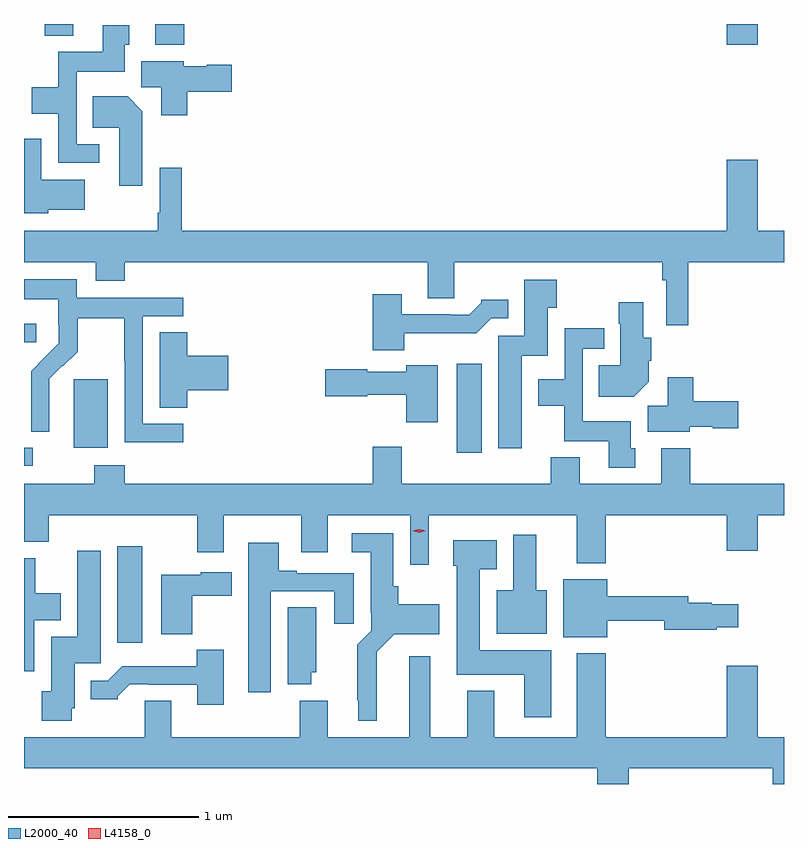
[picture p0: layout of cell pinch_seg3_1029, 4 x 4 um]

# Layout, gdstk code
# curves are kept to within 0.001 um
import gdstk
lib = gdstk.Library(unit=1e-6, precision=1e-09)
def R(c, l, rs):  # rectangles x0, y0, x1, y1
    for r in rs: c.add(gdstk.rectangle(r[:2], r[2:], *l))
def P(c, l, *ps):  # polygons
    for p in ps: c.add(gdstk.Polygon(p, *l))
L2000_40 = (2000, 40)
L4158_0 = (4158, 0)

pinch_seg3_1029 = lib.new_cell('pinch_seg3_1029')
R(pinch_seg3_1029, L2000_40, [(617.345,672.273,617.476,672.781), (616.853,673.203,616.9,673.299), (619.13,673.272,619.261,673.741), (617.114,673.298,617.293,673.659), (616.853,673.854,616.918,673.951), (617.543,675.419,617.696,675.529), (620.552,675.42,620.716,675.529), (616.961,675.467,617.113,675.529)])
P(pinch_seg3_1029, L2000_40, [(617.248,674.895),(617.13,674.895),(617.13,675.278),(617.383,675.278),(617.383,675.42),(617.407,675.42),(617.407,675.523),(617.267,675.523),(617.267,675.382),(617.032,675.382),(617.032,675.196),(616.895,675.196),(616.895,675.056),(617.034,675.056),(617.034,674.799),(617.248,674.799)],
  [(617.711,675.173),(617.947,675.173),(617.947,675.315),(617.814,675.315),(617.814,675.307),(617.694,675.307),(617.694,675.334),(617.471,675.334),(617.471,675.196),(617.576,675.196),(617.576,675.048),(617.711,675.048)],
  [(617.476,675.07),(617.398,675.148),(617.215,675.148),(617.215,674.984),(617.354,674.984),(617.354,674.679),(617.476,674.679)],
  [(616.98,674.552),(617.173,674.552),(617.173,674.71),(616.944,674.71),(616.944,674.926),(616.853,674.926),(616.853,674.534),(616.98,674.534)],
  [(620.348,674.276),(620.853,674.276),(620.853,674.44),(620.716,674.44),(620.716,674.815),(620.552,674.815),(620.552,674.44),(617.684,674.44),(617.684,674.773),(617.568,674.773),(617.568,674.536),(617.556,674.536),(617.556,674.44),(616.853,674.44),(616.853,674.276),(617.231,674.276),(617.231,674.177),(617.384,674.177),(617.384,674.276),(618.977,674.276),(618.977,674.086),(619.117,674.086),(619.117,674.276),(620.212,674.276),(620.212,674.18),(620.232,674.18),(620.232,673.944),(620.348,673.944)],
  [(617.692,673.425),(617.478,673.425),(617.478,673.992),(617.692,673.992),(617.692,674.088),(617.13,674.088),(617.13,674.185),(616.853,674.185),(616.853,674.081),(617.034,674.081),(617.034,673.947),(617.036,673.947),(617.036,673.85),(616.89,673.702),(616.89,673.384),(616.986,673.384),(616.985,673.661),(617.055,673.731),(617.058,673.728),(617.135,673.805),(617.135,673.98),(617.38,673.98),(617.38,673.756),(617.382,673.756),(617.382,673.327),(617.692,673.327)],
  [(619.474,673.784),(619.609,673.784),(619.609,674.035),(619.656,674.035),(619.656,674.182),(619.487,674.182),(619.487,673.887),(619.349,673.887),(619.349,673.296),(619.474,673.296)],
  [(618.853,673.902),(619.233,673.902),(619.311,673.98),(619.402,673.98),(619.402,674.077),(619.26,674.077),(619.26,674.062),(619.196,673.998),(619.097,673.998),(619.097,674.001),(618.841,674.001),(618.841,674.107),(618.689,674.107),(618.689,673.812),(618.853,673.812)],
  [(620.14,673.646),(620.14,673.756),(620.153,673.756),(620.153,673.878),(620.113,673.878),(620.113,674.065),(619.984,674.065),(619.984,673.952),(619.991,673.952),(619.991,673.732),(619.879,673.732),(619.879,673.568),(620.062,673.568)],
  [(620.071,673.296),(620.047,673.296),(620.047,673.438),(619.794,673.438),(619.794,673.821),(619.906,673.821),(619.906,673.929),(619.698,673.929),(619.698,673.66),(619.559,673.66),(619.559,673.52),(619.696,673.52),(619.696,673.334),(619.931,673.334),(619.931,673.194),(620.071,673.194)],
  [(617.711,673.601),(617.929,673.601),(617.929,673.784),(617.711,673.784),(617.711,673.907),(617.567,673.907),(617.567,673.51),(617.711,673.51)],
  [(619.03,673.732),(618.866,673.732),(618.866,673.699),(618.66,673.699),(618.66,673.712),(618.438,673.712),(618.438,673.57),(618.66,673.57),(618.66,673.577),(618.866,673.577),(618.866,673.434),(619.03,673.434)],
  [(620.358,673.409),(620.478,673.409),(620.478,673.402),(620.611,673.402),(620.611,673.544),(620.375,673.544),(620.375,673.669),(620.24,673.669),(620.24,673.52),(620.135,673.52),(620.135,673.382),(620.358,673.382)],
  [(618.982,672.944),(619.763,672.944),(619.763,672.692),(619.916,672.692),(619.916,672.944),(620.552,672.944),(620.552,672.756),(620.716,672.756),(620.716,672.944),(620.853,672.944),(620.853,673.108),(620.36,673.108),(620.36,673.297),(620.207,673.297),(620.207,673.108),(619.777,673.108),(619.777,673.249),(619.625,673.249),(619.625,673.108),(618.841,673.108),(618.841,673.303),(618.689,673.303),(618.689,673.108),(617.384,673.108),(617.384,673.207),(617.224,673.207),(617.224,673.108),(616.853,673.108),(616.853,672.803),(616.982,672.803),(616.982,672.944),(617.765,672.944),(617.765,672.75),(617.905,672.75),(617.905,672.944),(618.311,672.944),(618.311,672.75),(618.451,672.75),(618.451,672.944),(618.885,672.944),(618.885,672.684),(618.982,672.684)],
  [(618.709,672.224),(618.801,672.317),(619.039,672.317),(619.039,672.475),(618.822,672.475),(618.822,672.57),(618.796,672.57),(618.796,672.85),(618.579,672.85),(618.579,672.749),(618.677,672.749),(618.677,672.43),(618.681,672.43),(618.681,672.336),(618.607,672.262),(618.607,671.971),(618.611,671.971),(618.611,671.861),(618.709,671.861)],
  [(619.603,672.55),(619.549,672.55),(619.549,672.841),(619.427,672.841),(619.427,672.55),(619.34,672.55),(619.34,672.32),(619.603,672.32)],
  [(619.627,672.232),(619.252,672.232),(619.252,672.659),(619.342,672.659),(619.342,672.811),(619.112,672.811),(619.112,672.678),(619.13,672.678),(619.13,672.104),(619.487,672.104),(619.487,671.88),(619.627,671.88)],
  [(618.151,672.543),(618.485,672.543),(618.485,672.372),(618.589,672.372),(618.589,672.639),(618.289,672.639),(618.289,672.652),(618.193,672.652),(618.193,672.799),(618.032,672.799),(618.032,672.012),(618.151,672.012)],
  [(617.103,671.928),(617.119,671.928),(617.119,672.165),(617.257,672.165),(617.257,672.757),(617.132,672.757),(617.132,672.304),(616.997,672.304),(616.997,672.018),(616.946,672.018),(616.946,671.862),(617.103,671.862)],
  [(616.908,672.392),(617.047,672.392),(617.047,672.532),(616.911,672.532),(616.911,672.718),(616.853,672.718),(616.853,672.123),(616.908,672.123)],
  [(617.738,672.521),(617.947,672.521),(617.947,672.643),(617.784,672.643),(617.784,672.631),(617.576,672.631),(617.576,672.317),(617.738,672.317)],
  [(619.924,672.388),(620.222,672.388),(620.222,672.341),(620.498,672.341),(620.498,672.353),(620.611,672.353),(620.611,672.475),(620.472,672.475),(620.472,672.483),(620.35,672.483),(620.35,672.517),(619.924,672.517),(619.924,672.607),(619.691,672.607),(619.691,672.302),(619.924,672.302)],
  [(618.364,672.117),(618.391,672.117),(618.391,672.458),(618.242,672.458),(618.242,672.053),(618.364,672.053)],
  [(617.905,672.235),(617.763,672.235),(617.763,672.148),(617.371,672.148),(617.295,672.072),(617.204,672.072),(617.204,671.975),(617.346,671.975),(617.346,671.99),(617.41,672.054),(617.509,672.054),(617.509,672.051),(617.765,672.051),(617.765,671.946),(617.905,671.946)],
  [(620.036,671.612),(620.795,671.612),(620.795,671.529),(620.853,671.529),(620.853,671.776),(620.716,671.776),(620.716,672.151),(620.552,672.151),(620.552,671.776),(619.916,671.776),(619.916,672.217),(619.763,672.217),(619.763,671.776),(619.327,671.776),(619.327,672.019),(619.187,672.019),(619.187,671.776),(618.991,671.776),(618.991,672.202),(618.881,672.202),(618.881,671.776),(618.451,671.776),(618.451,671.968),(618.304,671.968),(618.304,671.776),(617.629,671.776),(617.629,671.966),(617.489,671.966),(617.489,671.776),(616.853,671.776),(616.853,671.612),(619.871,671.612),(619.871,671.529),(620.036,671.529)])
P(pinch_seg3_1029, L4158_0, [(618.932,672.851),(618.897,672.861),(618.897,672.861),(618.897,672.861),(618.932,672.871),(618.968,672.861),(618.968,672.861),(618.968,672.861)])

lib.write_gds('pinch_seg3_1029.gds')
